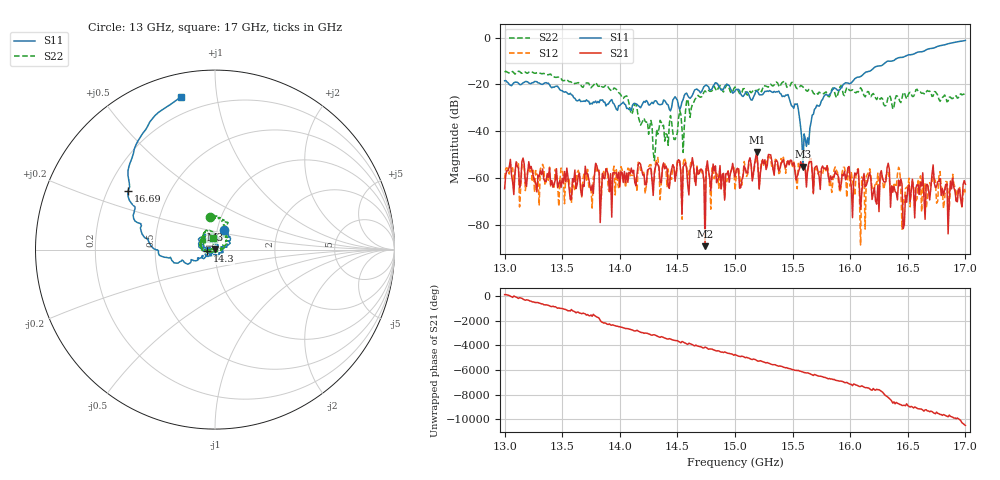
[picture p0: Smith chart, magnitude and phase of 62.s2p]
!Keysight Technologies,P9374A,MY57211807,A.19.30.04
!Date: Friday, May 01, 2026 14:16:33
!Correction: S11(C  2-Port  )
!S21(C  2-Port  )
!S12(C  2-Port  )
!S22(C  2-Port  )
!S2P File: Measurements: S11, S21, S12, S22:
# Hz S  RI  R 50
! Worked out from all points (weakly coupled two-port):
!   401 points, 13 GHz to 17 GHz, reference 50 ohm
!   highest |S21| = -48.79 dB at 15.19 GHz (marker M1); lowest = -89.1 dB at 14.74 GHz (marker M2)
!   lowest |S11| = -55.1 dB at 15.59 GHz (marker M3), VSWR 1.00, Z = 50.1 + j0.134 ohm
!   |S11| at or under -10 dB: start of sweep to 16.33 GHz; 16.33274 GHz to 16.36091 GHz (28.18 MHz wide, 0.172 % of centre)
!   |S22| runs from -52.6 to -14.3 dB; largest |S21 - S12| = 0.0012
!   S11 on the Smith chart (normalised r, x): 13 GHz: 1.08, +0.24; 14.3 GHz: 0.92, -0.02; 16.69 GHz: 0.28, +0.28; 17 GHz: 0.11, +0.80
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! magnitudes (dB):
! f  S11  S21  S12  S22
! 13 GHz  -18.4  -64.6  -60.2  -14.6
! 13.22 GHz  -19.6  -55.9  -57.3  -14.6
! 13.67 GHz  -27.2  -67.7  -68.4  -20.9
! 13.97 GHz  -30.6  -57.7  -56.4  -22.1
! 14.3 GHz  -27.2  -57.4  -60.4  -52.6
! 14.34 GHz  -28.5  -55.4  -56.3  -38.9
! 14.48 GHz  -25.2  -61.4  -57.7  -43.5
! 14.74 GHz  -20.6  -89.1  -69.0  -22.7
! 15 GHz  -22.9  -59.5  -65.2  -21.1
! 15.19 GHz  -22.7  -48.8  -51.0  -22.5
! 15.46 GHz  -24.3  -52.6  -52.7  -21.2
! 15.54 GHz  -28.3  -59.2  -64.6  -21.8
! 15.59 GHz  -55.1  -53.8  -53.0  -21.0
! 15.67 GHz  -33.1  -57.2  -58.2  -22.7
! 16.11 GHz  -15.8  -60.8  -60.3  -23.5
! 16.16 GHz  -14.5  -59.0  -57.5  -23.1
! 16.23 GHz  -12.2  -71.1  -62.7  -26.5
! 16.34 GHz  -10.0  -56.3  -60.6  -24.7
! 16.48 GHz  -7.9  -67.4  -64.5  -24.9
! 16.52 GHz  -7.3  -70.2  -72.3  -23.4
! 16.69 GHz  -4.7  -69.4  -62.0  -22.8
! 17 GHz  -1.2  -62.6  -66.2  -23.4
